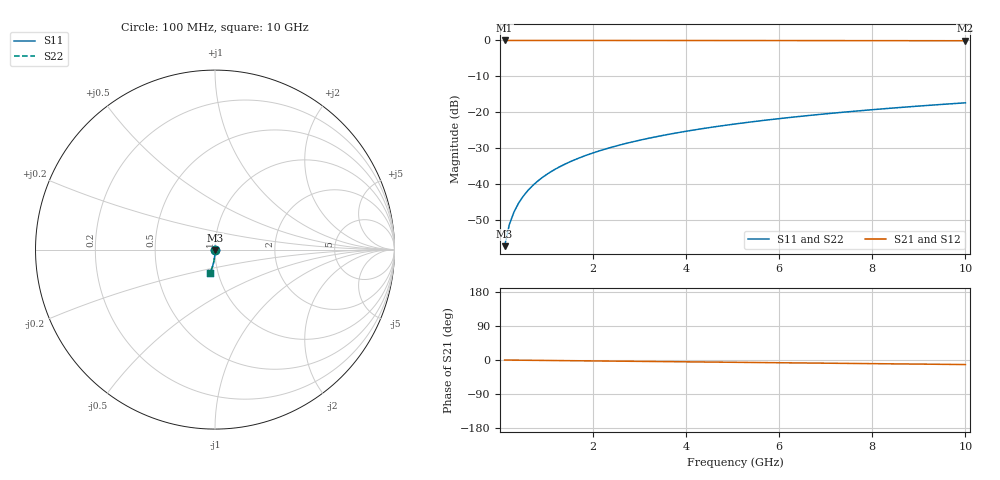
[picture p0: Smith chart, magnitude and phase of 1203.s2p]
# Hz S RI R 50.00
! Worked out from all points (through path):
!   100 points, 100 MHz to 10 GHz, reference 50 ohm
!   highest |S21| = 0.00 dB at 100 MHz (marker M1); lowest = -0.1 dB at 10 GHz (marker M2)
!   group delay of S21, straight-line fit = 3.34 ps
!   lowest |S11| = -57.2 dB at 100 MHz (marker M3), VSWR 1.00, Z = 50 - j0.137 ohm
!   |S11| at or under -10 dB: start of sweep to end of sweep
!   |S22| runs from -57.2 to -17.3 dB; largest |S21 - S12| = 0
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1e8  0.000201 -0.00137  0.9998 -0.00209  0.9998 -0.00209  0.000201 -0.00137
2e8  0.000193 -0.00273  0.9998 -0.00419  0.9998 -0.00419  0.000193 -0.00273
3e8  0.000178 -0.0041  0.9998 -0.00628  0.9998 -0.00628  0.000178 -0.0041
4e8  0.000157 -0.00547  0.9997 -0.00838  0.9997 -0.00838  0.000157 -0.00547
5e8  0.00013 -0.00683  0.9997 -0.0105  0.9997 -0.0105  0.00013 -0.00683
6e8  9.75e-05 -0.0082  0.9997 -0.0126  0.9997 -0.0126  9.75e-05 -0.0082
7e8  5.92e-05 -0.00957  0.9996 -0.0147  0.9996 -0.0147  5.92e-05 -0.00957
8e8  1.52e-05 -0.0109  0.9996 -0.0168  0.9996 -0.0168  1.52e-05 -0.0109
9e8  -3.47e-05 -0.0123  0.9995 -0.0188  0.9995 -0.0188  -3.47e-05 -0.0123
1.1e9  -0.000152 -0.015  0.9994 -0.023  0.9994 -0.023  -0.000152 -0.015
1.4e9  -0.00037 -0.0191  0.9991 -0.0293  0.9991 -0.0293  -0.00037 -0.0191
1.8e9  -0.000742 -0.0246  0.9987 -0.0377  0.9987 -0.0377  -0.000742 -0.0246
2.1e9  -0.00108 -0.0287  0.9984 -0.044  0.9984 -0.044  -0.00108 -0.0287
2.5e9  -0.00161 -0.0341  0.9978 -0.0523  0.9978 -0.0523  -0.00161 -0.0341
2.9e9  -0.00224 -0.0396  0.9971 -0.0607  0.9971 -0.0607  -0.00224 -0.0396
3.4e9  -0.00314 -0.0464  0.9961 -0.0711  0.9961 -0.0711  -0.00314 -0.0464
4.2e9  -0.00489 -0.0572  0.9942 -0.0878  0.9942 -0.0878  -0.00489 -0.0572
5.1e9  -0.00729 -0.0693  0.9916 -0.1065  0.9916 -0.1065  -0.00729 -0.0693
5.9e9  -0.00981 -0.0799  0.9888 -0.123  0.9888 -0.123  -0.00981 -0.0799
6.7e9  -0.0127 -0.0905  0.9857 -0.1394  0.9857 -0.1394  -0.0127 -0.0905
8.4e9  -0.0199 -0.1126  0.9777 -0.174  0.9777 -0.174  -0.0199 -0.1126
1e10  -0.0282 -0.1329  0.9686 -0.2061  0.9686 -0.2061  -0.0282 -0.1329
